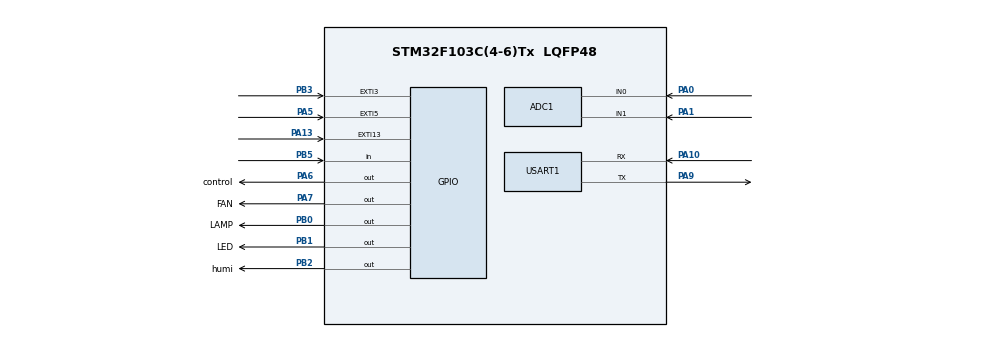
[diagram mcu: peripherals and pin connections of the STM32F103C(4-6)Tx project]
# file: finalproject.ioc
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ADC1.Channel-1\#ChannelRegularConversion=ADC_CHANNEL_0
ADC1.Channel-6\#ChannelRegularConversion=ADC_CHANNEL_1
ADC1.ContinuousConvMode=DISABLE
ADC1.DiscontinuousConvMode=ENABLE
ADC1.NbrOfConversion=2
ADC1.NbrOfConversionFlag=1
ADC1.Rank-1\#ChannelRegularConversion=1
ADC1.Rank-6\#ChannelRegularConversion=2
ADC1.SamplingTime-1\#ChannelRegularConversion=ADC_SAMPLETIME_239CYCLES_5
ADC1.SamplingTime-6\#ChannelRegularConversion=ADC_SAMPLETIME_239CYCLES_5
ADC1.master=1
Mcu.Family=STM32F1
Mcu.Name=STM32F103C(4-6)Tx
Mcu.Package=LQFP48
NVIC.EXTI15_10_IRQn=true\:0\:0\:false\:false\:true\:true\:true\:true
NVIC.EXTI3_IRQn=true\:0\:0\:false\:false\:true\:true\:true\:true
NVIC.EXTI9_5_IRQn=true\:0\:0\:false\:false\:true\:true\:true\:true
NVIC.PriorityGroup=NVIC_PRIORITYGROUP_4
NVIC.TIM2_IRQn=true\:0\:0\:false\:false\:true\:true\:true\:true
NVIC.TIM3_IRQn=true\:0\:0\:false\:false\:true\:true\:true\:true
PA0-WKUP.Signal=ADCx_IN0
PA1.Signal=ADCx_IN1
PA10.Mode=Asynchronous
PA10.Signal=USART1_RX
PA13.GPIO_PuPd=GPIO_PULLUP
PA13.Signal=GPXTI13
PA5.GPIO_PuPd=GPIO_PULLUP
PA5.Signal=GPXTI5
PA6.GPIO_Label=control
PA6.GPIO_Speed=GPIO_SPEED_FREQ_LOW
PA6.Signal=GPIO_Output
PA7.GPIO_Label=FAN
PA7.Signal=GPIO_Output
PA9.Mode=Asynchronous
PA9.Signal=USART1_TX
PB0.GPIO_Label=LAMP
PB0.Signal=GPIO_Output
PB1.GPIO_Label=LED
PB1.Signal=GPIO_Output
PB2.GPIO_Label=humi
PB2.Signal=GPIO_Output
PB3.GPIO_PuPd=GPIO_PULLUP
PB3.Signal=GPXTI3
PB5.Signal=GPIO_Input
ProjectManager.HeapSize=0x200
ProjectManager.StackSize=0x400
ProjectManager.TargetToolchain=MDK-ARM V5.32
RCC.APB1Freq_Value=8000000
RCC.APB2Freq_Value=8000000
SH.ADCx_IN0.0=ADC1_IN0,IN0
SH.ADCx_IN1.0=ADC1_IN1,IN1
TIM2.Period=999
TIM2.Prescaler=7999
TIM3.Period=6999
TIM3.Prescaler=7999
USART1.VirtualMode=VM_ASYNC
VP_SYS_VS_ND.Mode=No_Debug
VP_TIM2_VS_ClockSourceINT.Mode=Internal
VP_TIM3_VS_ClockSourceINT.Mode=Internal
board=custom

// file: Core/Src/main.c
/* USER CODE BEGIN Header */
/**
  ******************************************************************************
  * @file           : main.c
  * @brief          : Main program body
  ******************************************************************************
  * @attention
  *
  * Copyright (c) 2025 STMicroelectronics.
  * All rights reserved.
  *
  * This software is licensed under terms that can be found in the LICENSE file
  * in the root directory of this software component.
  * If no LICENSE file comes with this software, it is provided AS-IS.
  *
  ******************************************************************************
  */
/* USER CODE END Header */
#include "main.h"
#include "stdio.h"
#include "string.h"

ADC_HandleTypeDef hadc1;

TIM_HandleTypeDef htim2;
TIM_HandleTypeDef htim3;
UART_HandleTypeDef huart1;
uint32_t adc_values[2];
int selfControl=1;

void SystemClock_Config(void);
static void MX_GPIO_Init(void);
static void MX_ADC1_Init(void);
static void MX_USART1_UART_Init(void);
static void MX_TIM3_Init(void);
static void MX_TIM2_Init(void);

/* USER CODE BEGIN 0 */
void HAL_GPIO_EXTI_Callback(uint16_t GPIO_Pin) {
	 if (GPIO_Pin == GPIO_PIN_5) {
        if (selfControl==1){
					selfControl=0;
					HAL_GPIO_WritePin(GPIOA,GPIO_PIN_6,GPIO_PIN_SET);
				}
				else{
					selfControl=1;
					HAL_GPIO_WritePin(GPIOA,GPIO_PIN_6,GPIO_PIN_RESET);
				}
				HAL_GPIO_WritePin(GPIOB,GPIO_PIN_0,GPIO_PIN_RESET);
				HAL_GPIO_WritePin(GPIOA,GPIO_PIN_7,GPIO_PIN_RESET);
    }
    else if (GPIO_Pin == GPIO_PIN_3&& selfControl==0) {

					HAL_GPIO_TogglePin(GPIOB,GPIO_PIN_0);

    }
		else if (GPIO_Pin == GPIO_PIN_13&& selfControl==0) {
          HAL_GPIO_TogglePin(GPIOA,GPIO_PIN_7);
    }
}

void Read_ADC_Channel() {
    HAL_ADC_Start(&hadc1);
    HAL_ADC_PollForConversion(&hadc1, HAL_MAX_DELAY);
    adc_values[0] = HAL_ADC_GetValue(&hadc1);
	  HAL_ADC_Start(&hadc1);
    HAL_ADC_PollForConversion(&hadc1, HAL_MAX_DELAY);
    adc_values[1] = HAL_ADC_GetValue(&hadc1);
    HAL_ADC_Stop(&hadc1);
}

void HAL_TIM_PeriodElapsedCallback(TIM_HandleTypeDef *htim) {
	int Lux_Threshold=20;
int Temp_Threshold=40;
int Humid_Threshold=50;
	if (htim->Instance == TIM2) {

	Read_ADC_Channel();
	float temperature = (adc_values[1] * 5/ 4095.0) * 100;
  float lux = (adc_values[0] * 5/ 4095.0) * 100;

	if(temperature>=Temp_Threshold&&selfControl==1){
	HAL_GPIO_WritePin(GPIOA,GPIO_PIN_7,GPIO_PIN_SET);
  HAL_TIM_Base_Start_IT(&htim3);
	}
	if(lux<Lux_Threshold&&selfControl==1)
	HAL_GPIO_WritePin(GPIOB,GPIO_PIN_0,GPIO_PIN_SET);

	if(lux>=Lux_Threshold&&selfControl==1)
	HAL_GPIO_WritePin(GPIOB,GPIO_PIN_0,GPIO_PIN_RESET);

	char uart_buffer[50];
	float Humid=100;
	if(Humid>=Humid_Threshold){
		char uart_buffer2[]="humidity warning!!! \r\n";
		HAL_GPIO_WritePin(GPIOB,GPIO_PIN_2,GPIO_PIN_SET);
		HAL_UART_Transmit(&huart1, (uint8_t*)uart_buffer2, strlen(uart_buffer2), HAL_MAX_DELAY);
	}
	else{
		HAL_GPIO_WritePin(GPIOB,GPIO_PIN_2,GPIO_PIN_RESET);
	}
	sprintf(uart_buffer, "L: %.0f, T: %.0f, H: %.0f \r\n", lux, temperature,Humid);
        HAL_UART_Transmit(&huart1, (uint8_t*)uart_buffer, strlen(uart_buffer), HAL_MAX_DELAY);	}

	  if (htim->Instance == TIM3) {
	   	HAL_GPIO_WritePin(GPIOA,GPIO_PIN_7,GPIO_PIN_RESET);

		 	HAL_TIM_Base_Stop_IT(&htim3);

		}

}
/* USER CODE END 0 */

int main(void)
{

  /* MCU Configuration--------------------------------------------------------*/

  /* Reset of all peripherals, Initializes the Flash interface and the Systick. */
  HAL_Init();

  /* Configure the system clock */
  SystemClock_Config();

  /* Initialize all configured peripherals */
  MX_GPIO_Init();
  MX_ADC1_Init();
  MX_USART1_UART_Init();
  MX_TIM3_Init();
  MX_TIM2_Init();
  /* USER CODE BEGIN 2 */
HAL_TIM_Base_Start_IT(&htim2);
  /* USER CODE END 2 */

  /* Infinite loop */
  while (1)
  {
HAL_GPIO_WritePin(GPIOB,GPIO_PIN_1,GPIO_PIN_SET);
  }
}

void SystemClock_Config(void)
{
  RCC_OscInitTypeDef RCC_OscInitStruct = {0};
  RCC_ClkInitTypeDef RCC_ClkInitStruct = {0};
  RCC_PeriphCLKInitTypeDef PeriphClkInit = {0};

  /** Initializes the RCC Oscillators according to the specified parameters
  * in the RCC_OscInitTypeDef structure.
  */
  RCC_OscInitStruct.OscillatorType = RCC_OSCILLATORTYPE_HSI;
  RCC_OscInitStruct.HSIState = RCC_HSI_ON;
  RCC_OscInitStruct.HSICalibrationValue = RCC_HSICALIBRATION_DEFAULT;
  RCC_OscInitStruct.PLL.PLLState = RCC_PLL_NONE;
  if (HAL_RCC_OscConfig(&RCC_OscInitStruct) != HAL_OK)
  {
    Error_Handler();
  }

  /** Initializes the CPU, AHB and APB buses clocks
  */
  RCC_ClkInitStruct.ClockType = RCC_CLOCKTYPE_HCLK|RCC_CLOCKTYPE_SYSCLK
                              |RCC_CLOCKTYPE_PCLK1|RCC_CLOCKTYPE_PCLK2;
  RCC_ClkInitStruct.SYSCLKSource = RCC_SYSCLKSOURCE_HSI;
  RCC_ClkInitStruct.AHBCLKDivider = RCC_SYSCLK_DIV1;
  RCC_ClkInitStruct.APB1CLKDivider = RCC_HCLK_DIV1;
  RCC_ClkInitStruct.APB2CLKDivider = RCC_HCLK_DIV1;

  if (HAL_RCC_ClockConfig(&RCC_ClkInitStruct, FLASH_LATENCY_0) != HAL_OK)
  {
    Error_Handler();
  }
  PeriphClkInit.PeriphClockSelection = RCC_PERIPHCLK_ADC;
  PeriphClkInit.AdcClockSelection = RCC_ADCPCLK2_DIV2;
  if (HAL_RCCEx_PeriphCLKConfig(&PeriphClkInit) != HAL_OK)
  {
    Error_Handler();
  }
}

static void MX_ADC1_Init(void)
{

  ADC_ChannelConfTypeDef sConfig = {0};

  /** Common config
  */
  hadc1.Instance = ADC1;
  hadc1.Init.ScanConvMode = ADC_SCAN_ENABLE;
  hadc1.Init.ContinuousConvMode = DISABLE;
  hadc1.Init.DiscontinuousConvMode = ENABLE;
  hadc1.Init.NbrOfDiscConversion = 1;
  hadc1.Init.ExternalTrigConv = ADC_SOFTWARE_START;
  hadc1.Init.DataAlign = ADC_DATAALIGN_RIGHT;
  hadc1.Init.NbrOfConversion = 2;
  if (HAL_ADC_Init(&hadc1) != HAL_OK)
  {
    Error_Handler();
  }

  /** Configure Regular Channel
  */
  sConfig.Channel = ADC_CHANNEL_0;
  sConfig.Rank = ADC_REGULAR_RANK_1;
  sConfig.SamplingTime = ADC_SAMPLETIME_239CYCLES_5;
  if (HAL_ADC_ConfigChannel(&hadc1, &sConfig) != HAL_OK)
  {
    Error_Handler();
  }

  /** Configure Regular Channel
  */
  sConfig.Channel = ADC_CHANNEL_1;
  sConfig.Rank = ADC_REGULAR_RANK_2;
  if (HAL_ADC_ConfigChannel(&hadc1, &sConfig) != HAL_OK)
  {
    Error_Handler();
  }

}

static void MX_TIM2_Init(void)
{

  TIM_ClockConfigTypeDef sClockSourceConfig = {0};
  TIM_MasterConfigTypeDef sMasterConfig = {0};

  htim2.Instance = TIM2;
  htim2.Init.Prescaler = 7999;
  htim2.Init.CounterMode = TIM_COUNTERMODE_UP;
  htim2.Init.Period = 999;
  htim2.Init.ClockDivision = TIM_CLOCKDIVISION_DIV1;
  htim2.Init.AutoReloadPreload = TIM_AUTORELOAD_PRELOAD_DISABLE;
  if (HAL_TIM_Base_Init(&htim2) != HAL_OK)
  {
    Error_Handler();
  }
  sClockSourceConfig.ClockSource = TIM_CLOCKSOURCE_INTERNAL;
  if (HAL_TIM_ConfigClockSource(&htim2, &sClockSourceConfig) != HAL_OK)
  {
    Error_Handler();
  }
  sMasterConfig.MasterOutputTrigger = TIM_TRGO_RESET;
  sMasterConfig.MasterSlaveMode = TIM_MASTERSLAVEMODE_DISABLE;
  if (HAL_TIMEx_MasterConfigSynchronization(&htim2, &sMasterConfig) != HAL_OK)
  {
    Error_Handler();
  }

}

static void MX_TIM3_Init(void)
{

  TIM_ClockConfigTypeDef sClockSourceConfig = {0};
  TIM_MasterConfigTypeDef sMasterConfig = {0};

  htim3.Instance = TIM3;
  htim3.Init.Prescaler = 7999;
  htim3.Init.CounterMode = TIM_COUNTERMODE_UP;
  htim3.Init.Period = 6999;
  htim3.Init.ClockDivision = TIM_CLOCKDIVISION_DIV1;
  htim3.Init.AutoReloadPreload = TIM_AUTORELOAD_PRELOAD_DISABLE;
  if (HAL_TIM_Base_Init(&htim3) != HAL_OK)
  {
    Error_Handler();
  }
  sClockSourceConfig.ClockSource = TIM_CLOCKSOURCE_INTERNAL;
  if (HAL_TIM_ConfigClockSource(&htim3, &sClockSourceConfig) != HAL_OK)
  {
    Error_Handler();
  }
  sMasterConfig.MasterOutputTrigger = TIM_TRGO_RESET;
  sMasterConfig.MasterSlaveMode = TIM_MASTERSLAVEMODE_DISABLE;
  if (HAL_TIMEx_MasterConfigSynchronization(&htim3, &sMasterConfig) != HAL_OK)
  {
    Error_Handler();
  }

}

static void MX_USART1_UART_Init(void)
{

  huart1.Instance = USART1;
  huart1.Init.BaudRate = 115200;
  huart1.Init.WordLength = UART_WORDLENGTH_8B;
  huart1.Init.StopBits = UART_STOPBITS_1;
  huart1.Init.Parity = UART_PARITY_NONE;
  huart1.Init.Mode = UART_MODE_TX_RX;
  huart1.Init.HwFlowCtl = UART_HWCONTROL_NONE;
  huart1.Init.OverSampling = UART_OVERSAMPLING_16;
  if (HAL_UART_Init(&huart1) != HAL_OK)
  {
    Error_Handler();
  }

}

static void MX_GPIO_Init(void)
{
  GPIO_InitTypeDef GPIO_InitStruct = {0};

  /* GPIO Ports Clock Enable */
  __HAL_RCC_GPIOA_CLK_ENABLE();
  __HAL_RCC_GPIOB_CLK_ENABLE();

  /*Configure GPIO pin Output Level */
  HAL_GPIO_WritePin(GPIOA, control_Pin|FAN_Pin, GPIO_PIN_RESET);

  /*Configure GPIO pin Output Level */
  HAL_GPIO_WritePin(GPIOB, LAMP_Pin|LED_Pin|humi_Pin, GPIO_PIN_RESET);

  /*Configure GPIO pins : PA5 PA13 */
  GPIO_InitStruct.Pin = GPIO_PIN_5|GPIO_PIN_13;
  GPIO_InitStruct.Mode = GPIO_MODE_IT_RISING;
  GPIO_InitStruct.Pull = GPIO_PULLUP;
  HAL_GPIO_Init(GPIOA, &GPIO_InitStruct);

  /*Configure GPIO pins : control_Pin FAN_Pin */
  GPIO_InitStruct.Pin = control_Pin|FAN_Pin;
  GPIO_InitStruct.Mode = GPIO_MODE_OUTPUT_PP;
  GPIO_InitStruct.Pull = GPIO_NOPULL;
  GPIO_InitStruct.Speed = GPIO_SPEED_FREQ_LOW;
  HAL_GPIO_Init(GPIOA, &GPIO_InitStruct);

  /*Configure GPIO pins : LAMP_Pin LED_Pin humi_Pin */
  GPIO_InitStruct.Pin = LAMP_Pin|LED_Pin|humi_Pin;
  GPIO_InitStruct.Mode = GPIO_MODE_OUTPUT_PP;
  GPIO_InitStruct.Pull = GPIO_NOPULL;
  GPIO_InitStruct.Speed = GPIO_SPEED_FREQ_LOW;
  HAL_GPIO_Init(GPIOB, &GPIO_InitStruct);

  /*Configure GPIO pin : PB3 */
  GPIO_InitStruct.Pin = GPIO_PIN_3;
  GPIO_InitStruct.Mode = GPIO_MODE_IT_RISING;
  GPIO_InitStruct.Pull = GPIO_PULLUP;
  HAL_GPIO_Init(GPIOB, &GPIO_InitStruct);

  /*Configure GPIO pin : PB5 */
  GPIO_InitStruct.Pin = GPIO_PIN_5;
  GPIO_InitStruct.Mode = GPIO_MODE_INPUT;
  GPIO_InitStruct.Pull = GPIO_NOPULL;
  HAL_GPIO_Init(GPIOB, &GPIO_InitStruct);

  /* EXTI interrupt init*/
  HAL_NVIC_SetPriority(EXTI3_IRQn, 0, 0);
  HAL_NVIC_EnableIRQ(EXTI3_IRQn);

  HAL_NVIC_SetPriority(EXTI9_5_IRQn, 0, 0);
  HAL_NVIC_EnableIRQ(EXTI9_5_IRQn);

  HAL_NVIC_SetPriority(EXTI15_10_IRQn, 0, 0);
  HAL_NVIC_EnableIRQ(EXTI15_10_IRQn);

}

void Error_Handler(void)
{
  __disable_irq();
  while (1)
  {
  }
}
